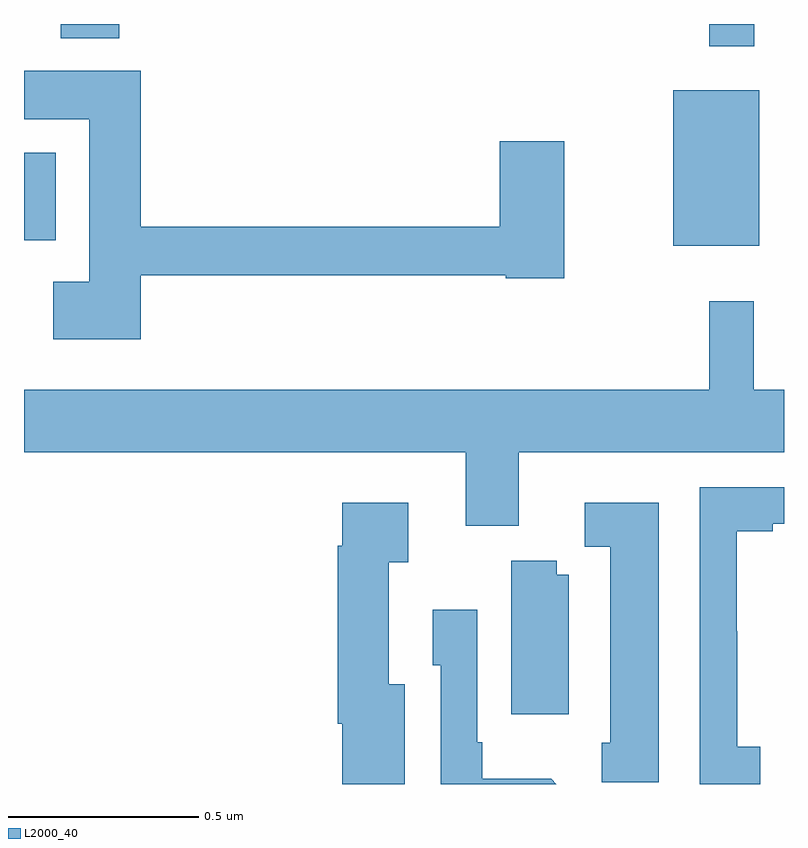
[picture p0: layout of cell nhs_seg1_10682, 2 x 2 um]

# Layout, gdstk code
import gdstk
lib = gdstk.Library(unit=1e-6, precision=1e-09)
def R(c, l, rs):  # rectangles x0, y0, x1, y1
    for r in rs: c.add(gdstk.rectangle(r[:2], r[2:], *l))
def P(c, l, *ps):  # polygons
    for p in ps: c.add(gdstk.Polygon(p, *l))
L2000_40 = (2000, 40)

nhs_seg1_10682 = lib.new_cell('nhs_seg1_10682')
R(nhs_seg1_10682, L2000_40, [(245.708,545.615,245.935,546.025), (244,545.63,244.084,545.86), (245.803,546.141,245.922,546.199), (244.097,546.161,244.25,546.199)])
P(nhs_seg1_10682, L2000_40, [(244.307,545.538),(245.268,545.538),(245.268,545.53),(245.422,545.53),(245.422,545.89),(245.252,545.89),(245.252,545.666),(244.307,545.666),(244.307,546.076),(244,546.076),(244,545.948),(244.172,545.948),(244.172,545.521),(244.077,545.521),(244.077,545.369),(244.307,545.369)],
  [(245.302,545.072),(246,545.072),(246,545.236),(245.921,545.236),(245.921,545.47),(245.803,545.47),(245.803,545.236),(244,545.236),(244,545.072),(245.162,545.072),(245.162,544.878),(245.302,544.878)],
  [(245.938,544.297),(245.877,544.297),(245.877,544.601),(245.875,544.601),(245.875,544.864),(245.971,544.864),(245.971,544.884),(246,544.884),(246,544.98),(245.778,544.98),(245.778,544.199),(245.938,544.199)],
  [(245.002,544.462),(244.96,544.462),(244.96,544.783),(245.011,544.783),(245.011,544.939),(244.838,544.939),(244.838,544.826),(244.826,544.826),(244.826,544.358),(244.838,544.358),(244.838,544.199),(245.002,544.199)],
  [(245.671,544.939),(245.475,544.939),(245.475,544.824),(245.543,544.824),(245.543,544.308),(245.521,544.308),(245.521,544.203),(245.671,544.203)],
  [(245.434,544.75),(245.402,544.75),(245.402,544.787),(245.282,544.787),(245.282,544.383),(245.434,544.383)],
  [(245.387,544.213),(245.206,544.213),(245.206,544.309),(245.193,544.309),(245.193,544.657),(245.076,544.657),(245.076,544.512),(245.097,544.512),(245.097,544.199),(245.401,544.199)])

lib.write_gds('nhs_seg1_10682.gds')
